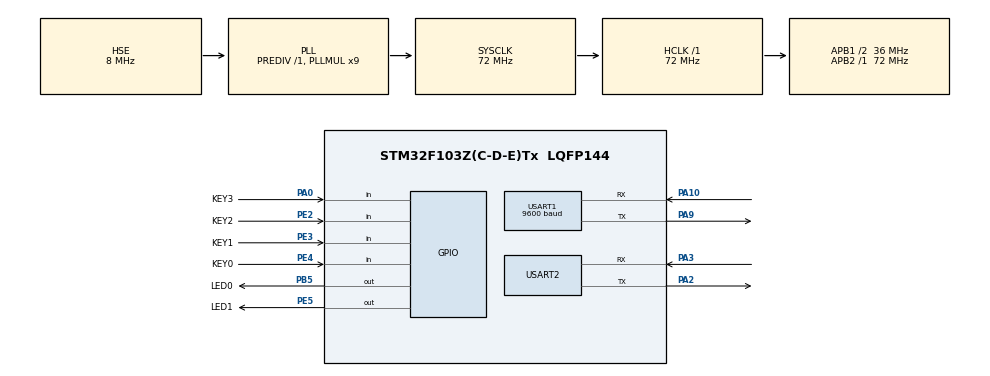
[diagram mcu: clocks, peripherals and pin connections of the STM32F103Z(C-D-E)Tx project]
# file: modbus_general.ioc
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Mcu.Family=STM32F1
Mcu.Name=STM32F103Z(C-D-E)Tx
Mcu.Package=LQFP144
NVIC.PriorityGroup=NVIC_PRIORITYGROUP_4
NVIC.TIM6_IRQn=true\:0\:0\:false\:false\:true\:true\:true\:true
NVIC.TIM7_IRQn=true\:0\:0\:false\:false\:true\:true\:true\:true
NVIC.USART1_IRQn=true\:0\:0\:false\:false\:true\:true\:true\:true
OSC_IN.Mode=HSE-External-Oscillator
OSC_IN.Signal=RCC_OSC_IN
OSC_OUT.Mode=HSE-External-Oscillator
OSC_OUT.Signal=RCC_OSC_OUT
PA0-WKUP.GPIO_Label=KEY3
PA0-WKUP.GPIO_Mode=GPIO_MODE_INPUT
PA0-WKUP.GPIO_PuPd=GPIO_PULLDOWN
PA0-WKUP.Signal=GPIO_Input
PA10.Mode=Asynchronous
PA10.Signal=USART1_RX
PA13.Mode=Serial_Wire
PA13.Signal=SYS_JTMS-SWDIO
PA14.Mode=Serial_Wire
PA14.Signal=SYS_JTCK-SWCLK
PA2.Mode=Asynchronous
PA2.Signal=USART2_TX
PA3.Mode=Asynchronous
PA3.Signal=USART2_RX
PA9.Mode=Asynchronous
PA9.Signal=USART1_TX
PB5.GPIO_Label=LED0
PB5.PinState=GPIO_PIN_SET
PB5.Signal=GPIO_Output
PC14-OSC32_IN.Mode=LSE-External-Oscillator
PC14-OSC32_IN.Signal=RCC_OSC32_IN
PC15-OSC32_OUT.Mode=LSE-External-Oscillator
PC15-OSC32_OUT.Signal=RCC_OSC32_OUT
PE2.GPIO_Label=KEY2
PE2.GPIO_PuPd=GPIO_PULLUP
PE2.Signal=GPIO_Input
PE3.GPIO_Label=KEY1
PE3.GPIO_PuPd=GPIO_PULLUP
PE3.Signal=GPIO_Input
PE4.GPIO_Label=KEY0
PE4.GPIO_PuPd=GPIO_PULLUP
PE4.Signal=GPIO_Input
PE5.GPIO_Label=LED1
PE5.PinState=GPIO_PIN_SET
PE5.Signal=GPIO_Output
ProjectManager.HeapSize=0x200
ProjectManager.StackSize=0x400
ProjectManager.TargetToolchain=MDK-ARM V5.32
RCC.AHBFreq_Value=72000000
RCC.APB1CLKDivider=RCC_HCLK_DIV2
RCC.APB1Freq_Value=36000000
RCC.APB1TimFreq_Value=72000000
RCC.APB2Freq_Value=72000000
RCC.APB2TimFreq_Value=72000000
RCC.HCLKFreq_Value=72000000
RCC.PLLMUL=RCC_PLL_MUL9
RCC.PLLSourceVirtual=RCC_PLLSOURCE_HSE
RCC.SYSCLKFreq_VALUE=72000000
RCC.SYSCLKSource=RCC_SYSCLKSOURCE_PLLCLK
RCC.USBFreq_Value=72000000
TIM6.Period=39
TIM6.Prescaler=7199
TIM7.Period=1999
TIM7.Prescaler=7199
USART1.BaudRate=9600
USART1.VirtualMode=VM_ASYNC
USART2.VirtualMode=VM_ASYNC
VP_TIM6_VS_ClockSourceINT.Mode=Enable_Timer
VP_TIM6_VS_OPM.Mode=OPM_bit
VP_TIM7_VS_ClockSourceINT.Mode=Enable_Timer
board=custom

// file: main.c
/* USER CODE BEGIN Header */
/**
  ******************************************************************************
  * @file           : main.c
  * @brief          : Main program body
  ******************************************************************************
  * @attention
  *
  * Copyright (c) 2025 STMicroelectronics.
  * All rights reserved.
  *
  * This software is licensed under terms that can be found in the LICENSE file
  * in the root directory of this software component.
  * If no LICENSE file comes with this software, it is provided AS-IS.
  *
  ******************************************************************************
  */
/* USER CODE END Header */
#include "main.h"
#include "tim.h"
#include "usart.h"
#include "gpio.h"

/* USER CODE BEGIN Includes */
#include <stdint.h>
#include <stdbool.h>
#include <string.h>
#include <stdio.h>

/* USER CODE END Includes */

/* USER CODE BEGIN PD */
#define MODBUS_SLAVE_ADDR 0x01

/* USER CODE END PD */

/* USER CODE BEGIN PV */
uint8_t rx_byte;
uint8_t rx_buffer[256];
uint16_t rx_index = 0;

uint16_t value[4] = {0, 1, 2, 3};
bool led_status[2] = {false, false};
bool key_status[12] = {false, false, false, false, false, false, false, false, false, false, false, false};

/* USER CODE END PV */

void SystemClock_Config(void);
/* USER CODE BEGIN PFP */
void parse_modbus_frame(uint8_t *frame, uint16_t length);
void pack_modbus_coils(const bool *coils, uint16_t start_addr, uint16_t coil_count, uint8_t *packed_bytes);
uint16_t ModRTU_CRC(uint8_t *buf, int len);

/* USER CODE END PFP */

int main(void)
{

  /* MCU Configuration--------------------------------------------------------*/

  /* Reset of all peripherals, Initializes the Flash interface and the Systick. */
  HAL_Init();

  /* Configure the system clock */
  SystemClock_Config();

  /* Initialize all configured peripherals */
  MX_GPIO_Init();
  MX_USART1_UART_Init();
  MX_TIM6_Init();
  MX_USART2_UART_Init();
  MX_TIM7_Init();
  /* USER CODE BEGIN 2 */
  HAL_UART_Receive_IT(&huart1, &rx_byte, 1);  // Start receiving
  __HAL_TIM_SET_COUNTER(&htim6, 0);
  HAL_TIM_Base_Stop_IT(&htim6);
  HAL_TIM_Base_Start_IT(&htim7);

  /* USER CODE END 2 */

  /* Infinite loop */
  while (1)
  {

  }
}

void SystemClock_Config(void)
{
  RCC_OscInitTypeDef RCC_OscInitStruct = {0};
  RCC_ClkInitTypeDef RCC_ClkInitStruct = {0};

  /** Initializes the RCC Oscillators according to the specified parameters
  * in the RCC_OscInitTypeDef structure.
  */
  RCC_OscInitStruct.OscillatorType = RCC_OSCILLATORTYPE_HSE;
  RCC_OscInitStruct.HSEState = RCC_HSE_ON;
  RCC_OscInitStruct.HSEPredivValue = RCC_HSE_PREDIV_DIV1;
  RCC_OscInitStruct.HSIState = RCC_HSI_ON;
  RCC_OscInitStruct.PLL.PLLState = RCC_PLL_ON;
  RCC_OscInitStruct.PLL.PLLSource = RCC_PLLSOURCE_HSE;
  RCC_OscInitStruct.PLL.PLLMUL = RCC_PLL_MUL9;
  if (HAL_RCC_OscConfig(&RCC_OscInitStruct) != HAL_OK)
  {
    Error_Handler();
  }

  /** Initializes the CPU, AHB and APB buses clocks
  */
  RCC_ClkInitStruct.ClockType = RCC_CLOCKTYPE_HCLK|RCC_CLOCKTYPE_SYSCLK
                              |RCC_CLOCKTYPE_PCLK1|RCC_CLOCKTYPE_PCLK2;
  RCC_ClkInitStruct.SYSCLKSource = RCC_SYSCLKSOURCE_PLLCLK;
  RCC_ClkInitStruct.AHBCLKDivider = RCC_SYSCLK_DIV1;
  RCC_ClkInitStruct.APB1CLKDivider = RCC_HCLK_DIV2;
  RCC_ClkInitStruct.APB2CLKDivider = RCC_HCLK_DIV1;

  if (HAL_RCC_ClockConfig(&RCC_ClkInitStruct, FLASH_LATENCY_2) != HAL_OK)
  {
    Error_Handler();
  }
}

/* USER CODE BEGIN 4 */
void HAL_UART_RxCpltCallback(UART_HandleTypeDef *huart)
{
    if (huart->Instance == USART1)
    {
        rx_buffer[rx_index++] = rx_byte;

        // Restart TIM6 to count silence interval
        __HAL_TIM_SET_COUNTER(&htim6, 0);
        HAL_TIM_Base_Start_IT(&htim6);

        // Restart receiving next byte
        HAL_UART_Receive_IT(&huart1, &rx_byte, 1);
    }
}

void HAL_TIM_PeriodElapsedCallback(TIM_HandleTypeDef *htim)
{
    if (htim->Instance == TIM6)
    {
        // Stop timer until next UART reception
        HAL_TIM_Base_Stop_IT(&htim6);

        // Frame complete, process Modbus frame
        parse_modbus_frame(rx_buffer, rx_index);

        // Reset index
        rx_index = 0;
    }

    if (htim->Instance == TIM7)
    {
        // Update test value per 200ms.
        value[0] += 100;
        key_status[0] = !HAL_GPIO_ReadPin(KEY0_GPIO_Port, KEY0_Pin);
        key_status[1] = !HAL_GPIO_ReadPin(KEY1_GPIO_Port, KEY1_Pin);
        key_status[2] = !HAL_GPIO_ReadPin(KEY2_GPIO_Port, KEY2_Pin);
        key_status[3] = HAL_GPIO_ReadPin(KEY3_GPIO_Port, KEY3_Pin);
        // Duplicated for another byte
        key_status[4] = !HAL_GPIO_ReadPin(KEY0_GPIO_Port, KEY0_Pin);
        key_status[5] = !HAL_GPIO_ReadPin(KEY1_GPIO_Port, KEY1_Pin);
        key_status[6] = !HAL_GPIO_ReadPin(KEY2_GPIO_Port, KEY2_Pin);
        key_status[7] = HAL_GPIO_ReadPin(KEY3_GPIO_Port, KEY3_Pin);
        key_status[8] = !HAL_GPIO_ReadPin(KEY0_GPIO_Port, KEY0_Pin);
        key_status[9] = !HAL_GPIO_ReadPin(KEY1_GPIO_Port, KEY1_Pin);
        key_status[10] = !HAL_GPIO_ReadPin(KEY2_GPIO_Port, KEY2_Pin);
        key_status[11] = HAL_GPIO_ReadPin(KEY3_GPIO_Port, KEY3_Pin);
    }
}

void parse_modbus_frame(uint8_t *frame, uint16_t length)
{
    // Minimum Modbus RTU length
    if (length < 4) return;

    uint8_t slave_addr = frame[0];
    uint8_t function = frame[1];
    uint16_t crc_received = (frame[length - 2] | (frame[length - 1] << 8));
    uint16_t crc_calculated = ModRTU_CRC(frame, length - 2);
    if (crc_received != crc_calculated) return;

    if (slave_addr != MODBUS_SLAVE_ADDR) return;

    switch (function)
    {
        case (0x01):
        {
            // Ensure enough bytes for address and content
            if (length < 8) goto lb_modbus_illegal;

            uint16_t start_addr = (frame[2] << 8) | frame[3];
            uint16_t coil_count = (frame[4] << 8) | frame[5];

            if (start_addr + coil_count - 1 > 0x0001) goto lb_modbus_illegal;
            uint8_t packed_byte_count = (coil_count + 7) / 8;

            uint8_t packed_byte[packed_byte_count];
            pack_modbus_coils(led_status, start_addr, coil_count, packed_byte);

            uint16_t response_length = 5 + packed_byte_count;
            uint8_t response[response_length];

            response[0] = MODBUS_SLAVE_ADDR;
            response[1] = 0x01;
            response[2] = packed_byte_count;

            for (int i = 3, j = 0; i < 3 + packed_byte_count; i++, j++)
            {
                response[i] = packed_byte[j];
            }

            uint16_t crc = ModRTU_CRC(response, response_length - 2);
            response[response_length - 2] = crc & 0xFF;
            response[response_length - 1] = (crc >> 8) & 0xFF;
            HAL_UART_Transmit(&huart1, response, response_length, HAL_MAX_DELAY);

//            if (start_addr == 0x0000)
//            {
//                uint8_t response[6] = {
//                    MODBUS_SLAVE_ADDR, 0x01, 0x01, led_status[0]
//                };
//                uint16_t crc = ModRTU_CRC(response, 4);
//                response[4] = crc & 0xFF;
//                response[5] = (crc >> 8) & 0xFF;
//                HAL_UART_Transmit(&huart1, response, 6, HAL_MAX_DELAY);
//            }
//            else if (start_addr == 0x0001)
//            {
//                uint8_t response[6] = {
//                    MODBUS_SLAVE_ADDR, 0x01, 0x01, led_status[1]
//                };
//                uint16_t crc = ModRTU_CRC(response, 4);
//                response[4] = crc & 0xFF;
//                response[5] = (crc >> 8) & 0xFF;
//                HAL_UART_Transmit(&huart1, response, 6, HAL_MAX_DELAY);
//            }
//            else goto flg_modbus_illegal;
            break;
        }

        case (0x02):
        {
            // Ensure enough bytes for address and content
            if (length < 8) goto lb_modbus_illegal;

            uint16_t start_addr = (frame[2] << 8) | frame[3];
            uint16_t coil_count = (frame[4] << 8) | frame[5];

            if (start_addr + coil_count - 1 > 0x000B) goto lb_modbus_illegal;
            uint8_t packed_byte_count = (coil_count + 7) / 8;

            uint8_t packed_byte[packed_byte_count];
            pack_modbus_coils(key_status, start_addr, coil_count, packed_byte);

            uint16_t response_length = 5 + packed_byte_count;
            uint8_t response[response_length];

            response[0] = MODBUS_SLAVE_ADDR;
            response[1] = 0x02;
            response[2] = packed_byte_count;

            for (int i = 3, j = 0; i < 3 + packed_byte_count; i++, j++)
            {
                response[i] = packed_byte[j];
            }

            uint16_t crc = ModRTU_CRC(response, response_length - 2);
            response[response_length - 2] = crc & 0xFF;
            response[response_length - 1] = (crc >> 8) & 0xFF;
            HAL_UART_Transmit(&huart1, response, response_length, HAL_MAX_DELAY);
            break;
        }

        case (0x03):
        {
            if (length < 6) goto lb_modbus_illegal;

            uint16_t start_addr = (frame[2] << 8) | frame[3];
            uint16_t reg_count = (frame[4] << 8) | frame[5];

            if (start_addr + reg_count - 1 > 0x0003) goto lb_modbus_illegal;
            uint16_t byte_count = reg_count * 2;
            uint16_t response_length = 5 + byte_count;

            uint8_t response[response_length];
            response[0] = MODBUS_SLAVE_ADDR;
            response[1] = 0x03;
            response[2] = byte_count;

            for (int i = 3, j = start_addr; i < 3 + byte_count; i += 2, j++)
            {
                response[i] = (value[j] >> 8) & 0xFF;    // High byte
                response[i+1] = value[j] & 0xFF;         // Low byte
            }

            uint16_t crc = ModRTU_CRC(response, response_length - 2);
            response[response_length - 2] = crc & 0xFF;
            response[response_length - 1] = (crc >> 8) & 0xFF;
            HAL_UART_Transmit(&huart1, response, response_length, HAL_MAX_DELAY);

//            uint8_t response[response_length] = {
//                MODBUS_SLAVE_ADDR, 0x03, 0x02,
//                (value[0] >> 8) & 0xFF,  // High byte
//                value[0] & 0xFF          // Low byte
//            };
//            uint16_t crc = ModRTU_CRC(response, 5);
//            response[5] = crc & 0xFF;
//            response[6] = (crc >> 8) & 0xFF;
//            HAL_UART_Transmit(&huart1, response, 7, HAL_MAX_DELAY);
            break;
        }

        case (0x05):
        {
            // Ensure enough bytes for address and content
            if (length < 8) goto lb_modbus_illegal;

            uint16_t start_addr = (frame[2] << 8) | frame[3];
            uint16_t write_cont = (frame[4] << 8) | frame[5];
//            uint8_t start_addr_hi = (start_addr >> 8) & 0xFF;
//            uint8_t start_addr_lo = start_addr & 0xFF;
//            uint8_t write_cont_hi = (write_cont >> 8) & 0xFF;
//            uint8_t write_cont_lo = write_cont & 0xFF;

            switch (start_addr)
            {
                case (0x0000):
                {
                    switch (write_cont)
                    {
                        case (0xFF00):
                        {
                            led_status[0] = 1;
                            HAL_GPIO_WritePin(LED0_GPIO_Port, LED0_Pin, GPIO_PIN_RESET);
                            HAL_UART_Transmit(&huart1, frame, 8, HAL_MAX_DELAY);
                            break;
                        }

                        case (0x0000):
                        {
                            led_status[0] = 0;
                            HAL_GPIO_WritePin(LED0_GPIO_Port, LED0_Pin, GPIO_PIN_SET);
                            HAL_UART_Transmit(&huart1, frame, 8, HAL_MAX_DELAY);
                            break;
                        }

                        default:
                            goto lb_modbus_illegal;
                    }
                    break;
                }

                case (0x0001):
                {
                    switch (write_cont)
                    {
                        case (0xFF00):
                        {
                            led_status[1] = 1;
                            HAL_GPIO_WritePin(LED1_GPIO_Port, LED1_Pin, GPIO_PIN_RESET);
                            HAL_UART_Transmit(&huart1, frame, 8, HAL_MAX_DELAY);
                            break;
                        }

                        case (0x0000):
                        {
                            led_status[1] = 0;
                            HAL_GPIO_WritePin(LED1_GPIO_Port, LED1_Pin, GPIO_PIN_SET);
                            HAL_UART_Transmit(&huart1, frame, 8, HAL_MAX_DELAY);
                            break;
                        }

                        default:
                            goto lb_modbus_illegal;
                    }
                    break;
                }

                default:
                    goto lb_modbus_illegal;
            }

//            if (start_addr == 0x0000)
//            {
//                if (write_cont == 0xFF00)
//                {
//                    led_status[0] = 1;
//                    HAL_GPIO_WritePin(LED0_GPIO_Port, LED0_Pin, GPIO_PIN_RESET);
//                    HAL_UART_Transmit(&huart1, frame, 8, HAL_MAX_DELAY);
//                }
//                else if (write_cont == 0x0000)
//                {
//                    led_status[0] = 0;
//                    HAL_GPIO_WritePin(LED0_GPIO_Port, LED0_Pin, GPIO_PIN_SET);
//                    HAL_UART_Transmit(&huart1, frame, 8, HAL_MAX_DELAY);
//                }
//                else goto lb_modbus_illegal;
//            }
//            else if (start_addr == 0x0001)
//            {
//                if (write_cont == 0xFF00)
//                {
//                    led_status[1] = 1;
//                    HAL_GPIO_WritePin(LED1_GPIO_Port, LED1_Pin, GPIO_PIN_RESET);
//                    HAL_UART_Transmit(&huart1, frame, 8, HAL_MAX_DELAY);
//                }
//                else if (write_cont == 0x0000)
//                {
//                    led_status[1] = 0;
//                    HAL_GPIO_WritePin(LED1_GPIO_Port, LED1_Pin, GPIO_PIN_SET);
//                    HAL_UART_Transmit(&huart1, frame, 8, HAL_MAX_DELAY);
//                }
//                else goto lb_modbus_illegal;
//            }
//            else goto lb_modbus_illegal;
            break;
        }

        case (0x06):
        {
            if (length < 8) goto lb_modbus_illegal;
            uint16_t start_addr = (frame[2] << 8) | frame[3];
            if (start_addr > 0x0003) goto lb_modbus_illegal;
            value[start_addr] = (frame[4] << 8) | frame[5];
            HAL_UART_Transmit(&huart1, frame, length, HAL_MAX_DELAY);
            break;
        }

        case (0x10):
        {
            if (length < 11) goto lb_modbus_illegal;
            uint16_t start_addr = (frame[2] << 8) | frame[3];
            uint16_t reg_count = (frame[4] << 8) | frame[5];
            uint8_t byte_count = frame[6];

            if (start_addr + reg_count - 1 > 0x0003) goto lb_modbus_illegal;
            if (reg_count * 2 != byte_count) goto lb_modbus_illegal;

            for (uint16_t i = start_addr, j = 7; i < start_addr + reg_count; i++, j += 2)
            {
                value[i] = (frame[j] << 8) | frame[j+1];
            }

            uint8_t response[8];
            response[0] = MODBUS_SLAVE_ADDR;
            response[1] = 0x10;
            response[2] = start_addr & 0xFF;
            response[3] = (start_addr >> 8) & 0xFF;
            response[4] = (reg_count >> 8) & 0xFF;
            response[5] = reg_count & 0xFF;

            uint16_t crc = ModRTU_CRC(response, 8 - 2);
            response[8 - 2] = crc & 0xFF;
            response[8 - 1] = (crc >> 8) & 0xFF;
            HAL_UART_Transmit(&huart1, response, 8, HAL_MAX_DELAY);

            break;
        }

        default:
        lb_modbus_illegal:
        {
            // Unsupported function: send exception response (Illegal Function = 0x01)
            uint8_t exception[5];
            exception[0] = MODBUS_SLAVE_ADDR;
            exception[1] = function | 0x80;  // Set MSB for exception
            exception[2] = 0x01;             // Exception Code: Illegal Function
            uint16_t crc = ModRTU_CRC(exception, 3);
            exception[3] = crc & 0xFF;
            exception[4] = (crc >> 8) & 0xFF;
            HAL_UART_Transmit(&huart1, exception, 5, HAL_MAX_DELAY);
        }
    }
}

void pack_modbus_coils(const bool *coils, uint16_t start_addr, uint16_t coil_count, uint8_t *output_bytes)
{
    memset(output_bytes, 0, (coil_count + 7) / 8);  // Clear output

    for (uint16_t i = start_addr, j = 0; i < start_addr + coil_count; i++, j++) {
        if (coils[i]) {
            output_bytes[j / 8] |= (1 << (j % 8));  // LSB-first bit order
        }
//        printf("%d, %d\n", i, coils[i]);
    }
}

uint16_t ModRTU_CRC(uint8_t *buf, int len)
{
    uint16_t crc = 0xFFFF;
    for (int pos = 0; pos < len; pos++)
    {
        crc ^= (uint16_t)buf[pos];
        for (int i = 8; i != 0; i--)
        {
            if ((crc & 0x0001) != 0)
            {
                crc >>= 1;
                crc ^= 0xA001;
            }
            else
            {
                crc >>= 1;
            }
        }
    }
    return crc;
}

int fputc(int ch, FILE *f) {
    HAL_UART_Transmit(&huart2, (uint8_t *)&ch, 1, HAL_MAX_DELAY);
    return ch;
}

/* USER CODE END 4 */

void Error_Handler(void)
{
  __disable_irq();
  while (1)
  {
  }
}
